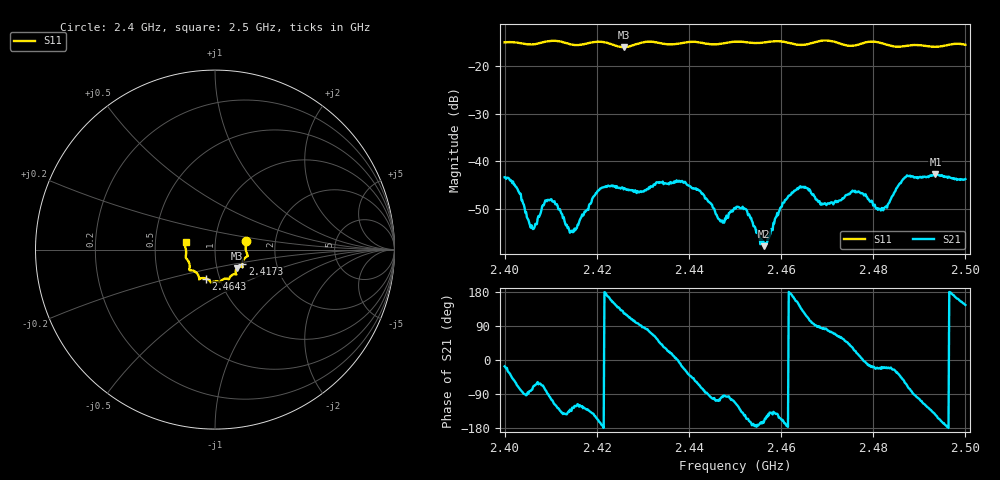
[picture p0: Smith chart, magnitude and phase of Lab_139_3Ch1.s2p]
# Hz S RI R 50
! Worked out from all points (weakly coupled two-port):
!   601 points, 2.4 GHz to 2.5 GHz, reference 50 ohm
!   highest |S21| = -42.74 dB at 2.4935 GHz (marker M1); lowest = -57.9 dB at 2.4563 GHz (marker M2)
!   lowest |S11| = -15.9 dB at 2.4258 GHz (marker M3), VSWR 1.38, Z = 62.3 - j13.2 ohm
!   |S11| at or under -10 dB: start of sweep to end of sweep
!   S12 and S22 are empty: the file has one direction only
!   S11 on the Smith chart (normalised r, x): 2.4 GHz: 1.41, +0.14; 2.4173 GHz: 1.34, -0.22; 2.4643 GHz: 0.86, -0.29; 2.5 GHz: 0.72, +0.06
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2.4e9  0.1729 0.0487  0.00652 -0.00196  0 0  0 0
2.403e9  0.1742 0.0343  0.00152 -0.0046  0 0  0 0
2.406e9  0.1707 0.0018  0.00041 -0.00194  0 0  0 0
2.409667e9  0.1824 -0.0316  -0.000387 -0.00387  0 0  0 0
2.4145e9  0.163 -0.0509  -0.00128 -0.0013  0 0  0 0
2.416667e9  0.1528 -0.074  -0.00139 -0.00219  0 0  0 0
2.417333e9  0.1521 -0.0814  -0.00177 -0.00237  0 0  0 0
2.421167e9  0.1537 -0.0967  -0.00525 -0.000724  0 0  0 0
2.425833e9  0.1219 -0.1032  -0.00281 0.00422  0 0  0 0
2.433333e9  0.1131 -0.1373  0.00375 0.00467  0 0  0 0
2.442e9  0.0743 -0.1645  0.00232 -0.00447  0 0  0 0
2.447167e9  0.0394 -0.1696  -0.000281 -0.00237  0 0  0 0
2.45e9  0.0286 -0.1806  -0.00123 -0.00299  0 0  0 0
2.452167e9  0.0219 -0.1796  -0.0026 -0.0018  0 0  0 0
2.456333e9  -0.00865 -0.1791  -0.00121 -0.00041  0 0  0 0
2.460333e9  -0.0249 -0.1813  -0.00339 -0.00138  0 0  0 0
2.464333e9  -0.05 -0.1611  -0.00385 0.00378  0 0  0 0
2.466667e9  -0.0759 -0.1592  -0.00065 0.00451  0 0  0 0
2.483333e9  -0.1412 -0.0901  0.00339 -0.00123  0 0  0 0
2.487e9  -0.1552 -0.0553  0.00324 -0.00598  0 0  0 0
2.4935e9  -0.1611 -0.00829  -0.00596 -0.0042  0 0  0 0
2.5e9  -0.164 0.0432  -0.00535 0.00371  0 0  0 0
